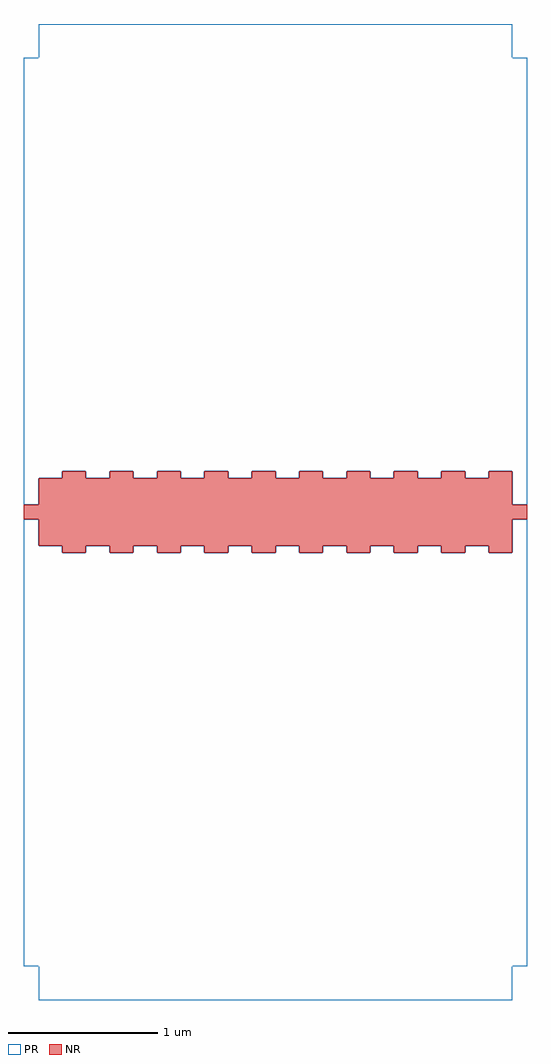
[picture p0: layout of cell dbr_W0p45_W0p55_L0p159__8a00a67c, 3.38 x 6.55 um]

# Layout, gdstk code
from math import pi, radians
import gdstk
lib = gdstk.Library(unit=1e-6, precision=1e-09)
def R(c, l, rs):  # rectangles x0, y0, x1, y1
    for r in rs: c.add(gdstk.rectangle(r[:2], r[2:], *l))
def P(c, l, *ps):  # polygons
    for p in ps: c.add(gdstk.Polygon(p, *l))
PR = (60, 0)
NR = (61, 0)

ps_33 = lib.new_cell('ps_33')
P(ps_33, PR, [(0,-3.275),(0,-3.05),(-0.1,-3.05),(-0.1,-0.05),(0,-0.05),(0,-0.225),(0.159,-0.225),(0.159,-0.275),(0.318,-0.275),(0.318,-0.225),(0.477,-0.225),(0.477,-0.275),(0.636,-0.275),(0.636,-0.225),(0.795,-0.225),(0.795,-0.275),(0.954,-0.275),(0.954,-0.225),(1.113,-0.225),(1.113,-0.275),(1.272,-0.275),(1.272,-0.225),(1.431,-0.225),(1.431,-0.275),(1.59,-0.275),(1.59,-0.225),(1.749,-0.225),(1.749,-0.275),(1.908,-0.275),(1.908,-0.225),(2.067,-0.225),(2.067,-0.275),(2.226,-0.275),(2.226,-0.225),(2.385,-0.225),(2.385,-0.275),(2.544,-0.275),(2.544,-0.225),(2.703,-0.225),(2.703,-0.275),(2.862,-0.275),(2.862,-0.225),(3.021,-0.225),(3.021,-0.275),(3.18,-0.275),(3.18,-0.05),(3.28,-0.05),(3.28,-3.05),(3.18,-3.05),(3.18,-3.275)],
  [(-0.1,0.05),(-0.1,3.05),(0,3.05),(0,3.275),(3.18,3.275),(3.18,3.05),(3.28,3.05),(3.28,0.05),(3.18,0.05),(3.18,0.275),(3.021,0.275),(3.021,0.225),(2.862,0.225),(2.862,0.275),(2.703,0.275),(2.703,0.225),(2.544,0.225),(2.544,0.275),(2.385,0.275),(2.385,0.225),(2.226,0.225),(2.226,0.275),(2.067,0.275),(2.067,0.225),(1.908,0.225),(1.908,0.275),(1.749,0.275),(1.749,0.225),(1.59,0.225),(1.59,0.275),(1.431,0.275),(1.431,0.225),(1.272,0.225),(1.272,0.275),(1.113,0.275),(1.113,0.225),(0.954,0.225),(0.954,0.275),(0.795,0.275),(0.795,0.225),(0.636,0.225),(0.636,0.275),(0.477,0.275),(0.477,0.225),(0.318,0.225),(0.318,0.275),(0.159,0.275),(0.159,0.225),(0,0.225),(0,0.05)])

ng_31 = lib.new_cell('ng_31')
R(ng_31, NR, [(-0.1,-0.05,0,0.05), (3.18,-0.05,3.28,0.05)])
P(ng_31, NR, [(0.159,-0.275),(0.159,-0.225),(0,-0.225),(0,0.225),(0.159,0.225),(0.159,0.275),(0.318,0.275),(0.318,-0.275)],
  [(0.477,-0.275),(0.477,-0.225),(0.318,-0.225),(0.318,0.225),(0.477,0.225),(0.477,0.275),(0.636,0.275),(0.636,-0.275)],
  [(0.795,-0.275),(0.795,-0.225),(0.636,-0.225),(0.636,0.225),(0.795,0.225),(0.795,0.275),(0.954,0.275),(0.954,-0.275)],
  [(1.113,-0.275),(1.113,-0.225),(0.954,-0.225),(0.954,0.225),(1.113,0.225),(1.113,0.275),(1.272,0.275),(1.272,-0.275)],
  [(1.431,-0.275),(1.431,-0.225),(1.272,-0.225),(1.272,0.225),(1.431,0.225),(1.431,0.275),(1.59,0.275),(1.59,-0.275)],
  [(1.749,-0.275),(1.749,-0.225),(1.59,-0.225),(1.59,0.225),(1.749,0.225),(1.749,0.275),(1.908,0.275),(1.908,-0.275)],
  [(2.067,-0.275),(2.067,-0.225),(1.908,-0.225),(1.908,0.225),(2.067,0.225),(2.067,0.275),(2.226,0.275),(2.226,-0.275)],
  [(2.385,-0.275),(2.385,-0.225),(2.226,-0.225),(2.226,0.225),(2.385,0.225),(2.385,0.275),(2.544,0.275),(2.544,-0.275)],
  [(2.703,-0.275),(2.703,-0.225),(2.544,-0.225),(2.544,0.225),(2.703,0.225),(2.703,0.275),(2.862,0.275),(2.862,-0.275)],
  [(3.021,-0.275),(3.021,-0.225),(2.862,-0.225),(2.862,0.225),(3.021,0.225),(3.021,0.275),(3.18,0.275),(3.18,-0.275)])

ps_6 = lib.new_cell('ps_6')

ng_4 = lib.new_cell('ng_4')

straight_l0p1_n2_csxs_6_ = lib.new_cell('straight_L0p1_N2_CSxs_6_52b034e0$1')

straight_l0p1_w0p1_b3 = lib.new_cell('straight_L0p1_W0p1_B3')
straight_l0p1_w0p1_b3.add(gdstk.Reference(ps_6, (0,0)))
straight_l0p1_w0p1_b3.add(gdstk.Reference(ng_4, (0,0)))
straight_l0p1_w0p1_b3.add(gdstk.Reference(straight_l0p1_n2_csxs_6_, (0,0)))

ps_27 = lib.new_cell('ps_27')

ng_25 = lib.new_cell('ng_25')

unnamed_8_1 = lib.new_cell('Unnamed_8$1')

dbr_cell_w0p45_w0p55_l0_ = lib.new_cell('dbr_cell_W0p45_W0p55_L0_2063a047')
dbr_cell_w0p45_w0p55_l0_.add(gdstk.Reference(ps_27, (0,0)))
dbr_cell_w0p45_w0p55_l0_.add(gdstk.Reference(ng_25, (0,0)))
dbr_cell_w0p45_w0p55_l0_.add(gdstk.Reference(unnamed_8_1, (0,0)))

unnamed_0_1 = lib.new_cell('Unnamed_0$1')
unnamed_0_1.add(gdstk.Reference(straight_l0p1_w0p1_b3, (0,0), rotation=pi))
unnamed_0_1.add(gdstk.Reference(straight_l0p1_w0p1_b3, (3.18,0)))
r = gdstk.Reference(dbr_cell_w0p45_w0p55_l0_, (0,0)); r.repetition = gdstk.Repetition(10, 1, v1=(0.318,0), v2=(0,0)); unnamed_0_1.add(r)

dbr_w0p45_w0p55_l0p159__ = lib.new_cell('dbr_W0p45_W0p55_L0p159__8a00a67c')
dbr_w0p45_w0p55_l0p159__.add(gdstk.Reference(ps_33, (0,0)))
dbr_w0p45_w0p55_l0p159__.add(gdstk.Reference(ng_31, (0,0)))
dbr_w0p45_w0p55_l0p159__.add(gdstk.Reference(unnamed_0_1, (0,0)))

lib.write_gds('dbr_W0p45_W0p55_L0p159__8a00a67c.gds')
